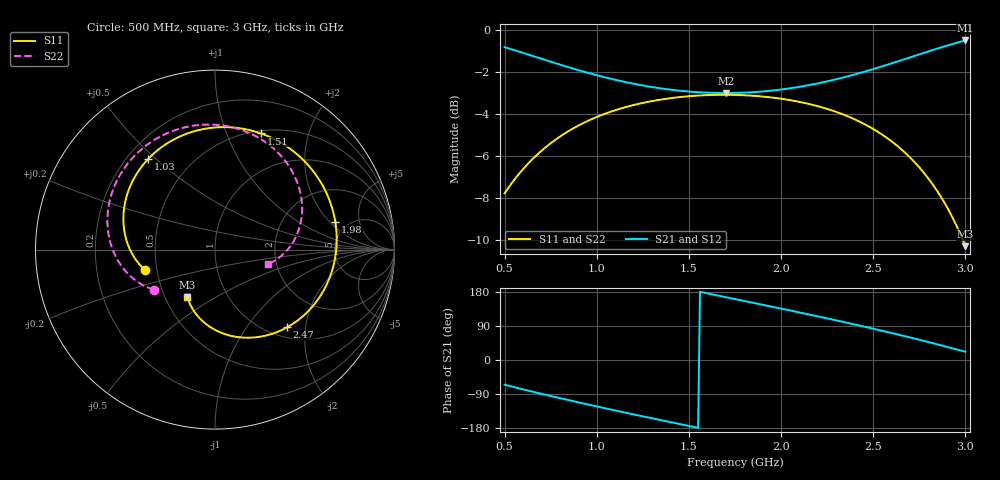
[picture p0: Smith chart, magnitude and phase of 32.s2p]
!freq-unit  param-type  data-format  keyword  impedance-ohms
# GHZ  S  RI  R  50
!Freq  ReS11  ImS11  ReS21  ImS21  ReS12  ImS12  ReS22  ImS22
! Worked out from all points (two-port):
!   251 points, 500 MHz to 3 GHz, reference 50 ohm
!   highest |S21| = -0.49 dB at 3 GHz (marker M1); lowest = -3.0 dB at 1.7 GHz (marker M2)
!   |S21| within 3 dB of the highest: start of sweep to end of sweep
!   lowest |S11| = -10.3 dB at 3 GHz (marker M3), VSWR 1.88, Z = 32.4 - j18.8 ohm
!   |S11| at or under -10 dB: 2.985222 GHz to end of sweep
!   |S22| runs from -10.3 to -3.1 dB; largest |S21 - S12| = 0
!   S11 on the Smith chart (normalised r, x): 500 MHz: 0.43, -0.11; 1.03 GHz: 0.28, +0.47; 1.51 GHz: 0.53, +1.33; 1.98 GHz: 3.97, +2.33; 2.47 GHz: 1.20, -1.59; 3 GHz: 0.65, -0.38
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0.5  -0.3921 -0.112  0.38 -0.8277  0.38 -0.8277  -0.3414 -0.2233
0.6  -0.4653 -0.017  0.1918 -0.8612  0.1918 -0.8612  -0.4294 -0.1809
0.71  -0.5068 0.1146  -0.00518 -0.8514  -0.00518 -0.8514  -0.5089 -0.1071
0.81  -0.5044 0.2447  -0.1676 -0.8076  -0.1676 -0.8076  -0.5607 -0.0224
0.92  -0.458 0.3843  -0.3232 -0.7296  -0.3232 -0.7296  -0.5927 0.0824
1.03  -0.3708 0.5068  -0.4524 -0.6284  -0.4524 -0.6284  -0.5984 0.1922
1.19  -0.1883 0.6334  -0.5924 -0.4538  -0.5924 -0.4538  -0.5626 0.348
1.34  0.0176 0.6816  -0.6735 -0.2731  -0.6735 -0.2731  -0.4874 0.4779
1.51  0.2566 0.6469  -0.7102 -0.0611  -0.7102 -0.0611  -0.3635 0.5945
1.7  0.4867 0.5043  -0.6863 0.1723  -0.6863 0.1723  -0.191 0.6754
1.75  0.5354 0.4516  -0.669 0.2316  -0.669 0.2316  -0.1419 0.6868
1.87  0.6253 0.3054  -0.6095 0.3681  -0.6095 0.3681  -0.0212 0.6966
1.98  0.6701 0.155  -0.5327 0.4839  -0.5327 0.4839  0.0894 0.683
2.07  0.6774 0.0273  -0.4543 0.5697  -0.4543 0.5697  0.1766 0.6556
2.17  0.6538 -0.1121  -0.3509 0.6535  -0.3509 0.6535  0.2668 0.6085
2.31  0.5668 -0.2872  -0.1782 0.7444  -0.1782 0.7444  0.3744 0.5148
2.47  0.4028 -0.4322  0.0557 0.7979  0.0557 0.7979  0.4581 0.3748
2.59  0.2512 -0.4854  0.251 0.7915  0.251 0.7915  0.4844 0.2552
2.7  0.1082 -0.4844  0.4371 0.7417  0.4371 0.7417  0.476 0.1438
2.8  -0.00978 -0.4417  0.6032 0.6542  0.6032 0.6542  0.4398 0.0498
2.9  -0.1014 -0.3641  0.7547 0.5233  0.7547 0.5233  0.3777 -0.028
3  -0.1539 -0.2632  0.8776 0.35  0.8776 0.35  0.2948 -0.0803
